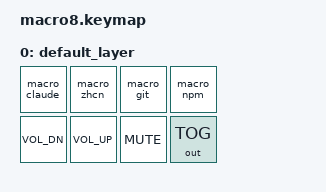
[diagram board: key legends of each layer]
#include <behaviors.dtsi>
#include <dt-bindings/zmk/keys.h>
#include <dt-bindings/zmk/bt.h>
#include <dt-bindings/zmk/outputs.h>

/ {
    macros {
        macro_claude: macro_claude {
            compatible = "zmk,behavior-macro";
            #binding-cells = <0>;
            bindings = <&kp C &kp L &kp A &kp U &kp D &kp E &kp RET>;
        };

        macro_zhcn: macro_zhcn {
            compatible = "zmk,behavior-macro";
            #binding-cells = <0>;
            bindings = <&kp LC(V) &kp RET>;
        };

        macro_git: macro_git {
            compatible = "zmk,behavior-macro";
            #binding-cells = <0>;
            bindings = <&kp G &kp I &kp T &kp SPACE &kp A &kp D &kp D &kp SPACE &kp DOT &kp RET>;
        };

        macro_npm: macro_npm {
            compatible = "zmk,behavior-macro";
            #binding-cells = <0>;
            bindings = <&kp N &kp P &kp M &kp SPACE &kp R &kp U &kp N &kp SPACE &kp D &kp E &kp V &kp RET>;
        };
    };

    keymap {
        compatible = "zmk,keymap";

        default_layer {
            bindings = <
                &macro_claude  &macro_zhcn  &macro_git   &macro_npm
                &kp C_VOL_DN   &kp C_VOL_UP &kp C_MUTE   &out OUT_TOG
            >;
        };
    };
};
